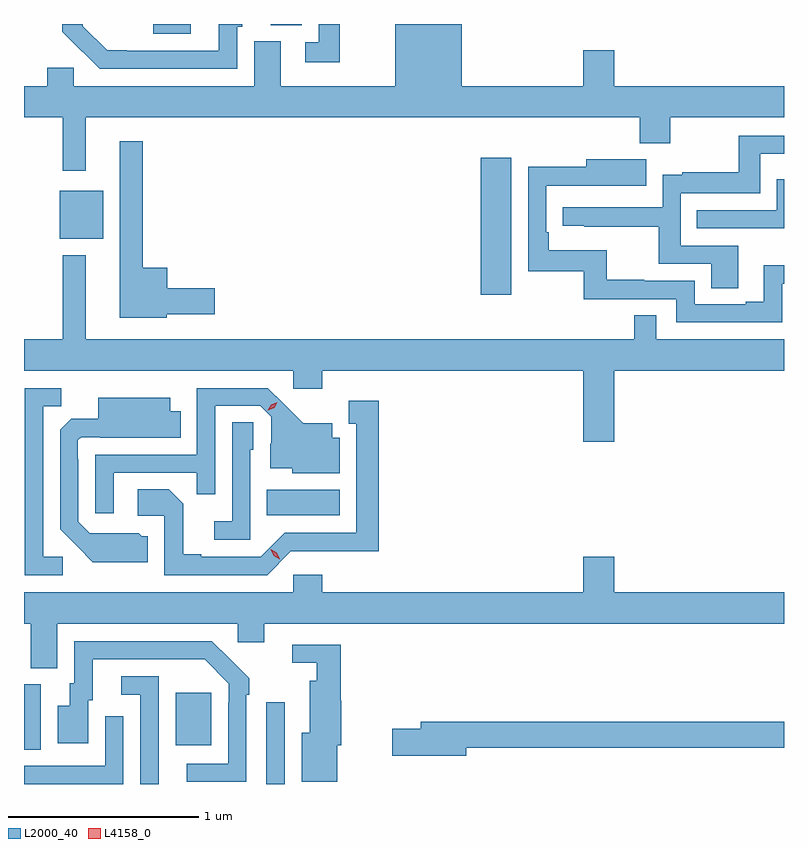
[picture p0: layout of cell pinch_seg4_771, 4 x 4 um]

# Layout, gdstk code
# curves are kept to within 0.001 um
import gdstk
lib = gdstk.Library(unit=1e-6, precision=1e-09)
def R(c, l, rs):  # rectangles x0, y0, x1, y1
    for r in rs: c.add(gdstk.rectangle(r[:2], r[2:], *l))
def P(c, l, *ps):  # polygons
    for p in ps: c.add(gdstk.Polygon(p, *l))
L2000_40 = (2000, 40)
L4158_0 = (4158, 0)

pinch_seg4_771 = lib.new_cell('pinch_seg4_771')
R(pinch_seg4_771, L2000_40, [(798.705,821.284,798.801,821.713), (797.429,821.464,797.518,821.808), (798.227,821.489,798.415,821.764), (798.706,822.698,799.09,822.832), (799.832,823.86,799.993,824.581), (797.618,824.153,797.845,824.407), (798.108,825.234,798.307,825.284), (798.728,825.277,798.892,825.284)])
P(pinch_seg4_771, L2000_40, [(800.669,824.657),(800.829,824.657),(800.829,824.792),(801.429,824.792),(801.429,824.956),(800.536,824.956),(800.536,825.145),(800.372,825.145),(800.372,824.956),(799.732,824.956),(799.732,825.284),(799.382,825.284),(799.382,824.956),(798.781,824.956),(798.781,825.192),(798.641,825.192),(798.641,824.956),(797.691,824.956),(797.691,825.054),(797.552,825.054),(797.552,824.956),(797.429,824.956),(797.429,824.792),(797.634,824.792),(797.634,824.511),(797.755,824.511),(797.755,824.792),(800.669,824.792)],
  [(798.552,825.27),(798.577,825.27),(798.577,825.284),(798.455,825.284),(798.455,825.144),(797.868,825.145),(797.739,825.273),(797.739,825.284),(797.631,825.284),(797.631,825.243),(797.828,825.048),(798.552,825.048)],
  [(799.09,825.284),(798.981,825.284),(798.981,825.189),(798.909,825.189),(798.909,825.084),(799.09,825.084)],
  [(801.187,824.118),(800.886,824.118),(800.886,824.394),(801.303,824.394),(801.303,824.6),(801.429,824.6),(801.429,824.697),(801.192,824.697),(801.192,824.503),(800.893,824.503),(800.893,824.491),(800.79,824.491),(800.79,824.319),(800.265,824.319),(800.265,824.223),(800.377,824.223),(800.377,824.218),(800.77,824.218),(800.77,824.022),(801.047,824.022),(801.047,823.894),(801.187,823.894)],
  [(798.18,823.757),(798.433,823.757),(798.433,823.892),(798.184,823.892),(798.184,824.002),(798.055,824.002),(798.055,824.668),(797.933,824.668),(797.933,823.739),(798.18,823.739)],
  [(801.42,823.917),(801.429,823.917),(801.429,824.015),(801.323,824.015),(801.323,823.822),(801.227,823.822),(801.227,823.809),(800.958,823.809),(800.958,823.932),(800.693,823.932),(800.693,823.937),(800.497,823.937),(800.497,824.092),(800.192,824.092),(800.192,824.188),(800.178,824.188),(800.178,824.433),(800.491,824.433),(800.491,824.432),(800.705,824.432),(800.705,824.572),(800.387,824.572),(800.387,824.534),(800.082,824.534),(800.082,823.983),(800.376,823.983),(800.376,823.836),(800.862,823.836),(800.862,823.713),(801.42,823.713)],
  [(801.429,824.467),(801.39,824.467),(801.39,824.304),(800.971,824.304),(800.971,824.208),(801.429,824.208)],
  [(800.536,823.46),(801.429,823.46),(801.429,823.624),(800.757,823.624),(800.757,823.751),(800.641,823.751),(800.641,823.624),(797.755,823.624),(797.755,824.068),(797.634,824.068),(797.634,823.624),(797.429,823.624),(797.429,823.46),(798.846,823.46),(798.846,823.365),(798.998,823.365),(798.998,823.46),(800.372,823.46),(800.372,823.086),(800.536,823.086)],
  [(797.901,822.921),(798.337,822.921),(798.337,822.808),(798.435,822.808),(798.435,823.275),(798.672,823.275),(798.729,823.218),(798.729,823.076),(798.725,823.076),(798.725,822.947),(798.84,822.947),(798.84,822.92),(799.09,822.92),(799.09,823.107),(799.051,823.107),(799.051,823.183),(798.899,823.183),(798.712,823.368),(798.339,823.368),(798.339,823.017),(797.805,823.017),(797.805,822.708),(797.901,822.708)],
  [(797.632,822.48),(797.529,822.48),(797.529,823.273),(797.625,823.273),(797.625,823.368),(797.433,823.368),(797.433,822.384),(797.632,822.384)],
  [(798.079,822.588),(798.048,822.588),(798.032,822.604),(797.775,822.603),(797.715,822.663),(797.715,822.992),(797.712,822.992),(797.712,823.092),(797.73,823.11),(797.83,823.11),(797.83,823.106),(798.254,823.106),(798.254,823.246),(798.199,823.246),(798.199,823.318),(797.819,823.318),(797.819,823.207),(797.678,823.207),(797.619,823.148),(797.619,822.626),(797.791,822.452),(798.079,822.452)],
  [(798.834,822.51),(799.297,822.509),(799.297,823.3),(799.139,823.3),(799.139,823.179),(799.178,823.179),(799.178,822.606),(798.801,822.606),(798.675,822.48),(798.361,822.48),(798.361,822.493),(798.267,822.493),(798.267,822.76),(798.191,822.836),(798.027,822.836),(798.027,822.696),(798.168,822.696),(798.168,822.384),(798.708,822.384)],
  [(798.621,823.044),(798.636,823.044),(798.636,823.187),(798.525,823.187),(798.525,822.667),(798.429,822.667),(798.429,822.57),(798.621,822.57)],
  [(797.605,822.128),(798.555,822.128),(798.555,822.03),(798.694,822.03),(798.694,822.128),(801.429,822.128),(801.429,822.292),(800.536,822.292),(800.536,822.481),(800.372,822.481),(800.372,822.292),(798.998,822.292),(798.998,822.385),(798.846,822.385),(798.846,822.292),(797.429,822.292),(797.429,822.128),(797.465,822.128),(797.465,821.893),(797.605,821.893)],
  [(798.6,821.753),(798.615,821.753),(798.615,821.841),(798.418,822.036),(797.694,822.036),(797.694,821.814),(797.669,821.814),(797.669,821.695),(797.606,821.695),(797.606,821.499),(797.767,821.499),(797.767,821.724),(797.791,821.724),(797.791,821.94),(798.379,821.94),(798.507,821.811),(798.507,821.711),(798.504,821.711),(798.504,821.391),(798.285,821.391),(798.285,821.295),(798.6,821.295)],
  [(799.078,821.487),(799.098,821.487),(799.098,821.723),(799.097,821.723),(799.097,822.018),(798.84,822.018),(798.84,821.922),(798.969,821.922),(798.969,821.827),(798.932,821.827),(798.932,821.554),(798.89,821.554),(798.89,821.297),(799.078,821.297)],
  [(798.139,821.393),(798.138,821.393),(798.138,821.85),(797.94,821.85),(797.94,821.754),(798.042,821.754),(798.042,821.284),(798.139,821.284)],
  [(797.951,821.386),(797.952,821.386),(797.952,821.641),(797.856,821.641),(797.856,821.379),(797.429,821.379),(797.429,821.284),(797.951,821.284)],
  [(799.756,821.476),(801.429,821.476),(801.429,821.612),(799.517,821.612),(799.517,821.576),(799.368,821.576),(799.368,821.434),(799.756,821.434)])
P(pinch_seg4_771, L4158_0, [(798.713,823.25),(798.713,823.25),(798.731,823.279),(798.762,823.294),(798.762,823.294),(798.762,823.294),(798.745,823.265),(798.714,823.25)],
  [(798.776,822.467),(798.744,822.486),(798.727,822.519),(798.727,822.519),(798.727,822.519),(798.759,822.5),(798.776,822.467),(798.776,822.467)])

lib.write_gds('pinch_seg4_771.gds')
